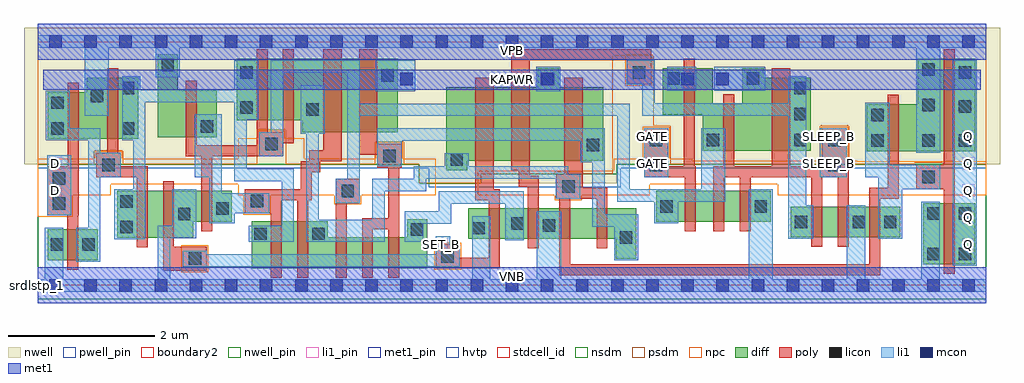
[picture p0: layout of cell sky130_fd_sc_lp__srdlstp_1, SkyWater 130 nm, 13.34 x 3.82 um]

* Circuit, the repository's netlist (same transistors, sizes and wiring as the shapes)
* Copyright 2020 The SkyWater PDK Authors
*
* Licensed under the Apache License, Version 2.0 (the "License");
* you may not use this file except in compliance with the License.
* You may obtain a copy of the License at
*
*     https://www.apache.org/licenses/LICENSE-2.0
*
* Unless required by applicable law or agreed to in writing, software
* distributed under the License is distributed on an "AS IS" BASIS,
* WITHOUT WARRANTIES OR CONDITIONS OF ANY KIND, either express or implied.
* See the License for the specific language governing permissions and
* limitations under the License.
*
* SPDX-License-Identifier: Apache-2.0

.SUBCKT sky130_fd_sc_lp__srdlstp_1 D GATE SET_B SLEEP_B KAPWR VGND VNB VPB VPWR Q
*.PININFO D:I GATE:I SET_B:I SLEEP_B:I KAPWR:I VGND:I VNB:I VPB:I
*.PININFO VPWR:I Q:O
MI638 db D VPWR VPB sky130_fd_pr__pfet_01v8_hvt m=1 w=0.64U l=0.15U mult=1 sa=0.265
+ sb=0.265 sd=0.28 area=0.063 perim=1.14
MI684 net120 sleep KAPWR VPB sky130_fd_pr__pfet_01v8_hvt m=1 w=1.0U l=0.25U mult=1
+ sa=0.265 sb=0.265 sd=0.28 area=0.063 perim=1.14
MI663 net156 S0 VPWR VPB sky130_fd_pr__pfet_01v8_hvt m=1 w=0.64U l=0.15U mult=1
+ sa=0.265 sb=0.265 sd=0.28 area=0.063 perim=1.14
MI660 Q net156 VPWR VPB sky130_fd_pr__pfet_01v8_hvt m=1 w=1.26U l=0.15U mult=1
+ sa=0.265 sb=0.265 sd=0.28 area=0.063 perim=1.14
MI6 net103 S1 KAPWR VPB sky130_fd_pr__pfet_01v8_hvt m=1 w=1.0U l=0.25U mult=1 sa=0.265
+ sb=0.265 sd=0.28 area=0.063 perim=1.14
MI669 S0 clkpos net103 VPB sky130_fd_pr__pfet_01v8_hvt m=1 w=1.0U l=0.25U mult=1
+ sa=0.265 sb=0.265 sd=0.28 area=0.063 perim=1.14
MI674 clkneg SLEEP_B KAPWR VPB sky130_fd_pr__pfet_01v8_hvt m=1 w=0.64U l=0.15U mult=1
+ sa=0.265 sb=0.265 sd=0.28 area=0.063 perim=1.14
MI648 S1 S0 KAPWR VPB sky130_fd_pr__pfet_01v8_hvt m=1 w=1.0U l=0.25U mult=1 sa=0.265
+ sb=0.265 sd=0.28 area=0.063 perim=1.14
MI37 net168 db VPWR VPB sky130_fd_pr__pfet_01v8_hvt m=1 w=0.84U l=0.15U mult=1
+ sa=0.265 sb=0.265 sd=0.28 area=0.063 perim=1.14
MI681 sleep SLEEP_B KAPWR VPB sky130_fd_pr__pfet_01v8_hvt m=1 w=1.0U l=0.25U mult=1
+ sa=0.265 sb=0.265 sd=0.28 area=0.063 perim=1.14
MI643 clkneg GATE KAPWR VPB sky130_fd_pr__pfet_01v8_hvt m=1 w=0.64U l=0.15U mult=1
+ sa=0.265 sb=0.265 sd=0.28 area=0.063 perim=1.14
MI635 clkpos clkneg VPWR VPB sky130_fd_pr__pfet_01v8_hvt m=1 w=0.64U l=0.15U mult=1
+ sa=0.265 sb=0.265 sd=0.28 area=0.063 perim=1.14
MI685 S0 SET_B net120 VPB sky130_fd_pr__pfet_01v8_hvt m=1 w=1.0U l=0.25U mult=1
+ sa=0.265 sb=0.265 sd=0.28 area=0.063 perim=1.14
MI690 net72 clkneg S0 VPB sky130_fd_pr__pfet_01v8_hvt m=1 w=0.84U l=0.15U mult=1
+ sa=0.265 sb=0.265 sd=0.28 area=0.063 perim=1.14
MI689 net168 clkneg net72 VPB sky130_fd_pr__pfet_01v8_hvt m=1 w=0.84U l=0.15U mult=1
+ sa=0.265 sb=0.265 sd=0.28 area=0.063 perim=1.14
MI680 net175 SLEEP_B VGND VNB sky130_fd_pr__nfet_01v8 m=1 w=0.42U l=0.15U mult=1
+ sa=0.265 sb=0.265 sd=0.28 area=0.063 perim=1.14
MI670 net139 SLEEP_B net148 VNB sky130_fd_pr__nfet_01v8 m=1 w=0.42U l=0.15U mult=1
+ sa=0.265 sb=0.265 sd=0.28 area=0.063 perim=1.14
MI27 net163 S1 net172 VNB sky130_fd_pr__nfet_01v8 m=1 w=0.42U l=0.15U mult=1 sa=0.265
+ sb=0.265 sd=0.28 area=0.063 perim=1.14
MI647 S1 S0 net188 VNB sky130_fd_pr__nfet_01v8 m=1 w=0.42U l=0.15U mult=1 sa=0.265
+ sb=0.265 sd=0.28 area=0.063 perim=1.14
MI678 net188 S0 VGND VNB sky130_fd_pr__nfet_01v8 m=1 w=0.42U l=0.15U mult=1 sa=0.265
+ sb=0.265 sd=0.28 area=0.063 perim=1.14
MI683 net180 sleep VGND VNB sky130_fd_pr__nfet_01v8 m=1 w=0.42U l=0.15U mult=1
+ sa=0.265 sb=0.265 sd=0.28 area=0.063 perim=1.14
MI682 net180 SET_B VGND VNB sky130_fd_pr__nfet_01v8 m=1 w=0.42U l=0.15U mult=1
+ sa=0.265 sb=0.265 sd=0.28 area=0.063 perim=1.14
MI679 sleep SLEEP_B net175 VNB sky130_fd_pr__nfet_01v8 m=1 w=0.42U l=0.15U mult=1
+ sa=0.265 sb=0.265 sd=0.28 area=0.063 perim=1.14
MI677 net172 S1 net180 VNB sky130_fd_pr__nfet_01v8 m=1 w=0.42U l=0.15U mult=1 sa=0.265
+ sb=0.265 sd=0.28 area=0.063 perim=1.14
MI36 net168 db net128 VNB sky130_fd_pr__nfet_01v8 m=1 w=0.64U l=0.15U mult=1 sa=0.265
+ sb=0.265 sd=0.28 area=0.063 perim=1.14
MI26 S0 clkneg net163 VNB sky130_fd_pr__nfet_01v8 m=1 w=0.42U l=0.15U mult=1 sa=0.265
+ sb=0.265 sd=0.28 area=0.063 perim=1.14
MI636 clkpos clkneg VGND VNB sky130_fd_pr__nfet_01v8 m=1 w=0.42U l=0.15U mult=1
+ sa=0.265 sb=0.265 sd=0.28 area=0.063 perim=1.14
MI652 net156 S0 VGND VNB sky130_fd_pr__nfet_01v8 m=1 w=0.42U l=0.15U mult=1 sa=0.265
+ sb=0.265 sd=0.28 area=0.063 perim=1.14
MI637 db D VGND VNB sky130_fd_pr__nfet_01v8 m=1 w=0.42U l=0.15U mult=1 sa=0.265
+ sb=0.265 sd=0.28 area=0.063 perim=1.14
MI673 net148 SLEEP_B VGND VNB sky130_fd_pr__nfet_01v8 m=1 w=0.42U l=0.15U mult=1
+ sa=0.265 sb=0.265 sd=0.28 area=0.063 perim=1.14
MI653 Q net156 VGND VNB sky130_fd_pr__nfet_01v8 m=1 w=0.84U l=0.15U mult=1 sa=0.265
+ sb=0.265 sd=0.28 area=0.063 perim=1.14
MI642 clkneg GATE net139 VNB sky130_fd_pr__nfet_01v8 m=1 w=0.42U l=0.15U mult=1
+ sa=0.265 sb=0.265 sd=0.28 area=0.063 perim=1.14
MI692 net131 clkpos S0 VNB sky130_fd_pr__nfet_01v8 m=1 w=0.64U l=0.15U mult=1 sa=0.265
+ sb=0.265 sd=0.28 area=0.063 perim=1.14
MI691 net168 clkpos net131 VNB sky130_fd_pr__nfet_01v8 m=1 w=0.64U l=0.15U mult=1
+ sa=0.265 sb=0.265 sd=0.28 area=0.063 perim=1.14
MI688 net128 SET_B VGND VNB sky130_fd_pr__nfet_01v8 m=1 w=0.64U l=0.15U mult=1
+ sa=0.265 sb=0.265 sd=0.28 area=0.063 perim=1.14
.ENDS sky130_fd_sc_lp__srdlstp_1

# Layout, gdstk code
import gdstk
lib = gdstk.Library(unit=1e-6, precision=1e-09)
def R(c, l, rs):  # rectangles x0, y0, x1, y1
    for r in rs: c.add(gdstk.rectangle(r[:2], r[2:], *l))
def A(c, l, x, y, w, h, nx, ny, dx, dy):  # array of equal rectangles
    R(c, l, [(x+i*dx, y+j*dy, x+i*dx+w, y+j*dy+h) for i in range(nx) for j in range(ny)])
def P(c, l, *ps):  # polygons
    for p in ps: c.add(gdstk.Polygon(p, *l))
nwell_pin = (64, 16)
nwell = (64, 20)
diff = (65, 20)
poly = (66, 20)
licon = (66, 44)
li1_pin = (67, 16)
li1 = (67, 20)
mcon = (67, 44)
met1_pin = (68, 16)
met1 = (68, 20)
hvtp = (78, 44)
stdcell_id = (81, 4)
nsdm = (93, 44)
psdm = (94, 20)
npc = (95, 20)
pwell_pin = (122, 16)
boundary2 = (236, 0)

sky130_fd_sc_lp__srdlstp = lib.new_cell('sky130_fd_sc_lp__srdlstp_1')
R(sky130_fd_sc_lp__srdlstp, nwell_pin, [(0,3.085,12.96,3.33)])
P(sky130_fd_sc_lp__srdlstp, nwell, [(13.15,3.52),(-0.19,3.52),(-0.19,1.655),(5.21,1.655),(5.21,1.395),(7.91,1.395),(7.91,1.655),(13.15,1.655)])
R(sky130_fd_sc_lp__srdlstp, diff, [(12.1,0.285,12.81,1.125), (0.135,0.345,0.815,0.765), (10.29,0.655,11.79,1.075), (8.45,0.87,10.02,1.29)])
P(sky130_fd_sc_lp__srdlstp, diff, [(1.37,2.84),(0.67,2.84),(0.67,2.64),(0.135,2.64),(0.135,2),(1.37,2)],
  [(2.445,2.665),(1.91,2.665),(1.91,3.155),(1.64,3.155),(1.64,2.025),(2.445,2.025)],
  [(2.65,1.29),(1.085,1.29),(1.085,0.65),(2.125,0.65),(2.125,0.87),(2.65,0.87)],
  [(4.92,3.095),(2.715,3.095),(2.715,2.255),(3.61,2.255),(3.61,2.095),(4.92,2.095)],
  [(5.325,0.905),(5.05,0.905),(5.05,0.655),(3.96,0.655),(3.96,0.875),(2.92,0.875),(2.92,0.235),(5.325,0.235)],
  [(7.73,2.705),(7.12,2.705),(7.12,2.965),(6.83,2.965),(6.83,2.705),(5.58,2.705),(5.58,1.575),(5.87,1.575),(5.87,1.705),(7.73,1.705)],
  [(8.18,1.055),(5.885,1.055),(5.885,0.635),(7.895,0.635),(7.895,0.36),(8.18,0.36)],
  [(10.565,2.84),(9.92,2.84),(9.92,2.97),(9.63,2.97),(9.63,2.48),(9.225,2.48),(9.225,2.97),(8.54,2.97),(8.54,2.33),(9.085,2.33),(9.085,1.84),(10.565,1.84)],
  [(12.815,3.095),(12.025,3.095),(12.025,2.475),(11.33,2.475),(11.33,1.835),(12.815,1.835)])
P(sky130_fd_sc_lp__srdlstp, poly, [(0.56,2.77),(0.41,2.77),(0.41,1.625),(0.125,1.625),(0.125,0.955),(0.4,0.955),(0.4,0.215),(0.55,0.215),(0.55,0.955),(0.56,0.955)],
  [(1.5,1.63),(1.13,1.63),(1.13,1.81),(1.095,1.81),(1.095,2.97),(0.945,2.97),(0.945,1.81),(0.8,1.81),(0.8,1.48),(1.35,1.48),(1.35,0.52),(1.5,0.52)],
  [(2.31,0.53),(1.86,0.53),(1.86,1.42),(1.71,1.42),(1.71,0.2),(2.31,0.2)],
  [(3.5,3.225),(3.35,3.225),(3.35,2.095),(3.14,2.095),(3.14,3.225),(2.99,3.225),(2.99,1.915),(2.17,1.915),(2.17,2.795),(2.02,2.795),(2.02,1.765),(2.235,1.765),(2.235,0.74),(2.385,0.74),(2.385,1.765),(3.355,1.765),(3.355,1.945),(3.5,1.945)],
  [(4.15,3.225),(3.9,3.225),(3.9,1.845),(3.71,1.845),(3.71,1.695),(3.595,1.695),(3.595,1.315),(2.83,1.315),(2.83,0.985),(3.185,0.985),(3.185,0.105),(3.335,0.105),(3.335,1.165),(3.545,1.165),(3.545,0.105),(3.695,0.105),(3.695,1.165),(3.745,1.165),(3.745,1.545),(3.86,1.545),(3.86,1.695),(4.15,1.695)],
  [(4.4,1.455),(4.07,1.455),(4.07,0.105),(4.22,0.105),(4.22,1.125),(4.4,1.125)],
  [(4.97,1.935),(4.64,1.935),(4.64,3.225),(4.39,3.225),(4.39,1.785),(4.64,1.785),(4.64,1.605),(4.79,1.605),(4.79,0.915),(4.43,0.915),(4.43,0.105),(4.58,0.105),(4.58,0.765),(4.79,0.765),(4.79,0.105),(4.94,0.105),(4.94,1.605),(4.97,1.605)],
  [(6.31,1.315),(6.23,1.315),(6.23,2.835),(5.98,2.835),(5.98,1.165),(6.16,1.165),(6.16,0.38),(5.765,0.38),(5.765,0.56),(5.435,0.56),(5.435,0.23),(6.31,0.23)],
  [(8.38,3.225),(6.47,3.225),(6.47,1.575),(6.57,1.575),(6.57,1.345),(6.695,1.345),(6.695,0.505),(6.845,0.505),(6.845,1.495),(6.72,1.495),(6.72,3.075),(8.05,3.075),(8.05,2.745),(8.38,2.745)],
  [(8.99,1.63),(8.975,1.63),(8.975,3.1),(8.825,3.1),(8.825,1.63),(8.615,1.63),(8.615,2.15),(8.285,2.15),(8.285,1.48),(8.84,1.48),(8.84,0.74),(8.99,0.74)],
  [(11.08,1.63),(11.055,1.63),(11.055,2.15),(10.72,2.15),(10.72,1.63),(10.28,1.63),(10.28,2.97),(10.03,2.97),(10.03,1.63),(9.52,1.63),(9.52,2.61),(9.37,2.61),(9.37,1.63),(9.23,1.63),(9.23,0.74),(9.38,0.74),(9.38,1.48),(9.59,1.48),(9.59,0.74),(9.74,0.74),(9.74,1.48),(10.57,1.48),(10.57,0.525),(10.72,0.525),(10.72,1.48),(10.93,1.48),(10.93,0.525),(11.08,0.525)],
  [(11.765,2.605),(11.615,2.605),(11.615,1.335),(11.36,1.335),(11.36,0.285),(7.275,0.285),(7.275,1.185),(7.635,1.185),(7.635,0.505),(7.785,0.505),(7.785,1.335),(7.445,1.335),(7.445,2.835),(7.195,2.835),(7.195,1.515),(7.085,1.515),(7.085,1.185),(7.125,1.185),(7.125,0.135),(11.51,0.135),(11.51,1.185),(11.765,1.185)],
  [(12.53,3.225),(12.38,3.225),(12.38,1.645),(12.005,1.645),(12.005,1.315),(12.38,1.315),(12.38,0.155),(12.53,0.155)])
A(sky130_fd_sc_lp__srdlstp, licon, 12.085, 1.895, 0.17, 0.17, 1, 3, 0, 0.485)
A(sky130_fd_sc_lp__srdlstp, licon, 12.585, 1.895, 0.17, 0.17, 1, 3, 0, 0.465)
A(sky130_fd_sc_lp__srdlstp, licon, 10.335, 1.9, 0.17, 0.17, 1, 3, 0, 0.355)
R(sky130_fd_sc_lp__srdlstp, licon, [(2.06,0.28,2.23,0.45), (5.515,0.31,5.685,0.48), (12.155,0.345,12.325,0.515), (12.585,0.345,12.755,0.515), (0.175,0.47,0.345,0.64), (0.605,0.47,0.775,0.64), (7.955,0.57,8.125,0.74), (2.96,0.62,3.13,0.79), (3.75,0.62,3.92,0.79), (5.095,0.675,5.265,0.845), (5.935,0.695,6.105,0.865), (1.125,0.71,1.295,0.88), (6.9,0.73,7.07,0.9), (6.47,0.76,6.64,0.93), (10.345,0.78,10.515,0.95), (11.135,0.78,11.305,0.95), (11.565,0.78,11.735,0.95), (1.915,0.89,2.085,1.06), (12.155,0.895,12.325,1.065), (12.585,0.895,12.755,1.065), (2.44,0.965,2.61,1.135), (8.505,0.995,8.675,1.165), (9.795,0.995,9.965,1.165), (0.205,1.035,0.375,1.205), (1.125,1.06,1.295,1.23), (2.91,1.065,3.08,1.235), (4.15,1.205,4.32,1.375), (7.165,1.265,7.335,1.435), (0.205,1.375,0.375,1.545), (12.085,1.395,12.255,1.565), (0.88,1.56,1.05,1.73), (8.365,1.56,8.535,1.73), (10.805,1.56,10.975,1.73), (5.64,1.635,5.81,1.805), (4.72,1.685,4.89,1.855), (7.5,1.83,7.67,2), (3.105,1.845,3.275,2.015), (11.39,1.895,11.56,2.065), (8.365,1.9,8.535,2.07), (9.145,1.9,9.315,2.07), (10.805,1.9,10.975,2.07), (0.185,2.06,0.355,2.23), (1.15,2.06,1.32,2.23), (2.225,2.085,2.395,2.255), (11.39,2.245,11.56,2.415), (3.67,2.32,3.84,2.49), (2.765,2.345,2.935,2.515), (0.185,2.41,0.355,2.58), (0.72,2.505,0.89,2.675), (1.15,2.61,1.32,2.78), (6.89,2.735,7.06,2.905), (8.6,2.74,8.77,2.91), (9.69,2.74,9.86,2.91), (4.695,2.78,4.865,2.95), (2.765,2.825,2.935,2.995), (8.13,2.825,8.3,2.995), (1.69,2.925,1.86,3.095)])
A(sky130_fd_sc_lp__srdlstp, li1_pin, 12.635, 0.47, 0.17, 0.17, 1, 5, 0, 0.37)
R(sky130_fd_sc_lp__srdlstp, li1_pin, [(5.435,0.47,5.605,0.64), (0.155,1.21,0.325,1.38), (0.155,1.58,0.325,1.75), (8.315,1.58,8.485,1.75), (10.715,1.58,10.885,1.75), (8.315,1.95,8.485,2.12), (10.715,1.95,10.885,2.12)])
R(sky130_fd_sc_lp__srdlstp, li1, [(12.505,0.265,12.835,3.075), (0.125,0.955,0.455,1.78), (8.285,1.48,8.615,2.15), (10.685,1.48,11.055,2.15), (4.615,2.655,5.155,3.075), (6.81,2.655,7.14,2.985), (8.6,2.66,8.995,2.99), (9.245,2.66,9.94,2.99)])
P(sky130_fd_sc_lp__srdlstp, li1, [(1.13,1.81),(0.855,1.81),(0.855,2.15),(0.435,2.15),(0.435,2.66),(0.105,2.66),(0.105,1.98),(0.685,1.98),(0.685,0.785),(0.525,0.785),(0.525,0.325),(0.855,0.325),(0.855,1.48),(1.13,1.48)],
  [(3.16,1.255),(2.515,1.255),(2.515,2.335),(2.145,2.335),(2.145,1.48),(2.345,1.48),(2.345,0.85),(2.69,0.85),(2.69,0.985),(3.16,0.985)],
  [(3.5,1.595),(2.855,1.595),(2.855,2.265),(3.015,2.265),(3.015,3.075),(2.685,3.075),(2.685,2.675),(1.4,2.675),(1.4,2.86),(1.15,2.86),(1.15,1.98),(1.3,1.98),(1.3,1.31),(1.045,1.31),(1.045,0.63),(1.47,0.63),(1.47,2.505),(2.685,2.505),(2.685,1.425),(3.33,1.425),(3.33,0.815),(2.88,0.815),(2.88,0.595),(3.5,0.595)],
  [(5.765,0.56),(5.635,0.56),(5.635,0.67),(5.435,0.67),(5.435,0.425),(2.31,0.425),(2.31,0.475),(1.98,0.475),(1.98,0.255),(5.765,0.255)],
  [(6.64,1.285),(5.48,1.285),(5.48,1.01),(5.015,1.01),(5.015,0.595),(5.265,0.595),(5.265,0.84),(5.65,0.84),(5.65,1.115),(6.39,1.115),(6.39,0.615),(6.64,0.615)],
  [(7.41,1.515),(7.25,1.515),(7.25,1.625),(5.89,1.625),(5.89,1.805),(5.56,1.805),(5.56,1.625),(5.14,1.625),(5.14,1.455),(4.57,1.455),(4.57,0.895),(3.84,0.895),(3.84,2.075),(3.92,2.075),(3.92,2.735),(3.59,2.735),(3.59,2.075),(3.67,2.075),(3.67,0.595),(4.74,0.595),(4.74,1.285),(5.31,1.285),(5.31,1.455),(7.08,1.455),(7.08,1.185),(7.41,1.185)],
  [(8.205,0.97),(7.75,0.97),(7.75,2.145),(4.64,2.145),(4.64,1.625),(4.97,1.625),(4.97,1.975),(7.42,1.975),(7.42,1.685),(7.58,1.685),(7.58,0.8),(7.875,0.8),(7.875,0.34),(8.205,0.34)],
  [(9.395,2.15),(9.065,2.15),(9.065,1.31),(8.09,1.31),(8.09,2.485),(4.4,2.485),(4.4,3.075),(3.185,3.075),(3.185,2.095),(3.025,2.095),(3.025,1.765),(3.355,1.765),(3.355,2.905),(4.23,2.905),(4.23,1.455),(4.07,1.455),(4.07,1.125),(4.4,1.125),(4.4,2.315),(7.92,2.315),(7.92,1.14),(8.425,1.14),(8.425,0.85),(8.755,0.85),(8.755,1.14),(9.395,1.14)],
  [(10.595,1.095),(10.505,1.095),(10.505,2.86),(10.255,2.86),(10.255,2.49),(8.43,2.49),(8.43,3.075),(8.05,3.075),(8.05,2.745),(8.26,2.745),(8.26,2.32),(10.255,2.32),(10.255,0.635),(10.595,0.635)],
  [(12.335,1.645),(11.64,1.645),(11.64,2.495),(11.31,2.495),(11.31,1.475),(11.485,1.475),(11.485,0.635),(11.815,0.635),(11.815,1.315),(12.335,1.315)],
  [(12.96,3.415),(0,3.415),(0,3.245),(0.64,3.245),(0.64,2.32),(0.97,2.32),(0.97,3.245),(1.61,3.245),(1.61,2.845),(1.94,2.845),(1.94,3.245),(12.005,3.245),(12.005,1.815),(12.335,1.815),(12.335,3.245),(12.96,3.245)],
  [(12.96,0.085),(12.325,0.085),(12.325,1.145),(12.075,1.145),(12.075,0.085),(11.305,0.085),(11.305,1.095),(11.055,1.095),(11.055,0.085),(10.045,0.085),(10.045,1.31),(9.715,1.31),(9.715,0.085),(7.15,0.085),(7.15,1.015),(6.82,1.015),(6.82,0.085),(6.185,0.085),(6.185,0.945),(5.935,0.945),(5.935,0.085),(1.81,0.085),(1.81,0.645),(2.165,0.645),(2.165,1.31),(1.835,1.31),(1.835,0.815),(1.64,0.815),(1.64,0.085),(0.345,0.085),(0.345,0.785),(0.095,0.785),(0.095,0.085),(0,0.085),(0,-0.085),(12.96,-0.085)])
A(sky130_fd_sc_lp__srdlstp, mcon, 0.155, -0.085, 0.17, 0.17, 27, 2, 0.48, 3.33)
A(sky130_fd_sc_lp__srdlstp, mcon, 4.955, 2.735, 0.17, 0.17, 3, 1, 1.92, 0)
R(sky130_fd_sc_lp__srdlstp, mcon, [(9.275,2.735,9.445,2.905)])
R(sky130_fd_sc_lp__srdlstp, met1_pin, [(0,0,12.96,0.245), (0.07,2.675,12.89,2.945), (0,3.085,12.96,3.33)])
R(sky130_fd_sc_lp__srdlstp, met1, [(0,-0.245,12.96,0.245), (0.07,2.675,12.89,2.945), (0,3.085,12.96,3.575)])
P(sky130_fd_sc_lp__srdlstp, hvtp, [(12.96,3.33),(0,3.33),(0,1.6),(5.345,1.6),(5.345,1.34),(7.965,1.34),(7.965,1.6),(12.96,1.6)])
R(sky130_fd_sc_lp__srdlstp, stdcell_id, [(0,0,12.96,3.33)])
P(sky130_fd_sc_lp__srdlstp, nsdm, [(12.96,1.655),(7.91,1.655),(7.91,1.525),(6.05,1.525),(6.05,1.395),(5.21,1.395),(5.21,1.655),(0,1.655),(0,-0.19),(12.96,-0.19)])
P(sky130_fd_sc_lp__srdlstp, psdm, [(12.96,3.52),(0,3.52),(0,1.655),(0.77,1.655),(0.77,1.84),(1.16,1.84),(1.16,1.655),(2.995,1.655),(2.995,2.125),(3.385,2.125),(3.385,1.655),(4.61,1.655),(4.61,1.965),(5,1.965),(5,1.655),(5.21,1.655),(5.21,1.395),(6.05,1.395),(6.05,1.525),(7.055,1.525),(7.055,1.545),(7.445,1.545),(7.445,1.525),(7.86,1.525),(7.86,3.14),(8.41,3.14),(8.41,2.18),(8.645,2.18),(8.645,1.655),(10.695,1.655),(10.695,2.18),(11.085,2.18),(11.085,1.655),(11.975,1.655),(11.975,1.675),(12.365,1.675),(12.365,1.655),(12.96,1.655)])
R(sky130_fd_sc_lp__srdlstp, npc, [(1.96,0.18,2.33,0.55), (5.415,0.21,5.785,0.58), (8.03,2.725,8.4,3.155)])
P(sky130_fd_sc_lp__srdlstp, npc, [(12.96,1.695),(11.19,1.695),(11.19,1.7),(11.075,1.7),(11.075,2.17),(10.705,2.17),(10.705,1.7),(8.945,1.7),(8.945,1.73),(8.635,1.73),(8.635,2.17),(8.265,2.17),(8.265,1.73),(7.87,1.73),(7.87,1.565),(6.01,1.565),(6.01,1.23),(7.065,1.23),(7.065,1.165),(7.435,1.165),(7.435,1.23),(8.36,1.23),(8.36,1.38),(10.11,1.38),(10.11,1.23),(12.96,1.23)],
  [(5.44,1.73),(4.99,1.73),(4.99,1.955),(4.62,1.955),(4.62,1.73),(3.64,1.73),(3.64,2.01),(3.375,2.01),(3.375,2.115),(3.005,2.115),(3.005,2.01),(2.74,2.01),(2.74,1.73),(1.15,1.73),(1.15,1.83),(0.78,1.83),(0.78,1.73),(0,1.73),(0,0.935),(0.475,0.935),(0.475,1.23),(0.995,1.23),(0.995,1.38),(2.74,1.38),(2.74,1.23),(2.81,1.23),(2.81,0.965),(3.18,0.965),(3.18,1.23),(4.05,1.23),(4.05,1.105),(4.42,1.105),(4.42,1.23),(5.44,1.23)])
R(sky130_fd_sc_lp__srdlstp, pwell_pin, [(0,0,12.96,0.245)])
R(sky130_fd_sc_lp__srdlstp, boundary2, [(0,0,12.96,3.33)])
sky130_fd_sc_lp__srdlstp.add(gdstk.Label('VNB', (6.48,0.123), layer=64, texttype=59))
sky130_fd_sc_lp__srdlstp.add(gdstk.Label('VPB', (6.48,3.208), layer=64, texttype=5))
sky130_fd_sc_lp__srdlstp.add(gdstk.Label('srdlstp_1', (0,0), layer=83, texttype=44))
sky130_fd_sc_lp__srdlstp.add(gdstk.Label('KAPWR', (6.48,2.81), layer=68, texttype=5))
sky130_fd_sc_lp__srdlstp.add(gdstk.Label('VPWR', (6.48,3.208), layer=68, texttype=5))
sky130_fd_sc_lp__srdlstp.add(gdstk.Label('VGND', (6.48,0.123), layer=68, texttype=5))
sky130_fd_sc_lp__srdlstp.add(gdstk.Label('GATE', (8.4,1.665), layer=67, texttype=5))
sky130_fd_sc_lp__srdlstp.add(gdstk.Label('GATE', (8.4,2.035), layer=67, texttype=5))
sky130_fd_sc_lp__srdlstp.add(gdstk.Label('SLEEP_B', (10.8,1.665), layer=67, texttype=5))
sky130_fd_sc_lp__srdlstp.add(gdstk.Label('SLEEP_B', (10.8,2.035), layer=67, texttype=5))
sky130_fd_sc_lp__srdlstp.add(gdstk.Label('D', (0.24,1.295), layer=67, texttype=5))
sky130_fd_sc_lp__srdlstp.add(gdstk.Label('D', (0.24,1.665), layer=67, texttype=5))
sky130_fd_sc_lp__srdlstp.add(gdstk.Label('SET_B', (5.52,0.555), layer=67, texttype=5))
sky130_fd_sc_lp__srdlstp.add(gdstk.Label('Q', (12.72,0.555), layer=67, texttype=5))
sky130_fd_sc_lp__srdlstp.add(gdstk.Label('Q', (12.72,0.925), layer=67, texttype=5))
sky130_fd_sc_lp__srdlstp.add(gdstk.Label('Q', (12.72,1.295), layer=67, texttype=5))
sky130_fd_sc_lp__srdlstp.add(gdstk.Label('Q', (12.72,1.665), layer=67, texttype=5))
sky130_fd_sc_lp__srdlstp.add(gdstk.Label('Q', (12.72,2.035), layer=67, texttype=5))

lib.write_gds('sky130_fd_sc_lp__srdlstp_1.gds')
